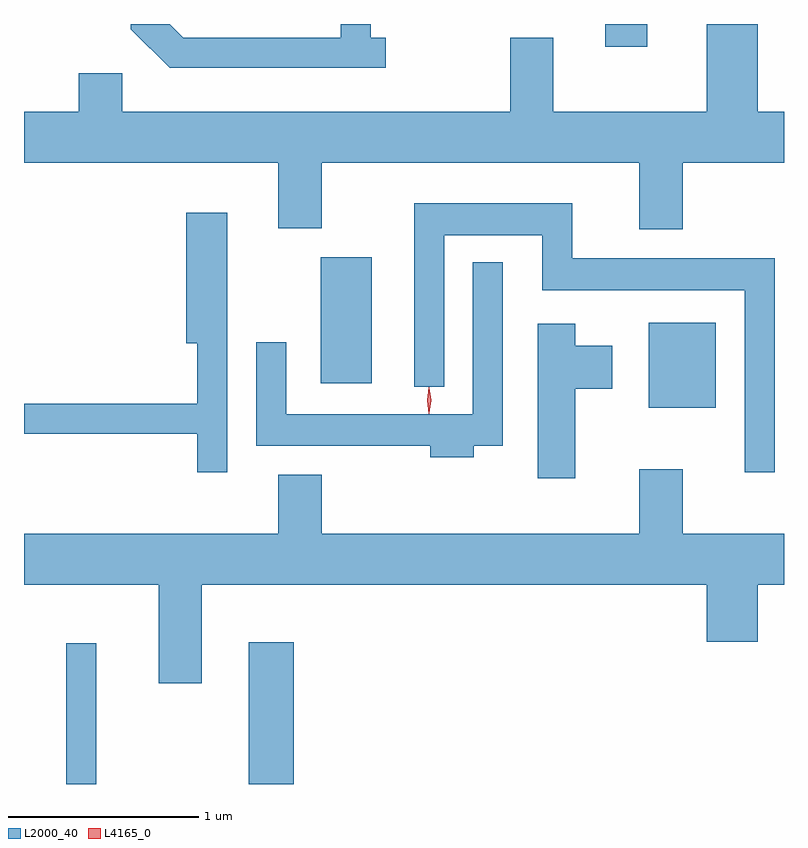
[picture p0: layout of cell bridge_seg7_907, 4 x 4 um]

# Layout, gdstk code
import gdstk
lib = gdstk.Library(unit=1e-6, precision=1e-09)
def R(c, l, rs):  # rectangles x0, y0, x1, y1
    for r in rs: c.add(gdstk.rectangle(r[:2], r[2:], *l))
def P(c, l, *ps):  # polygons
    for p in ps: c.add(gdstk.Polygon(p, *l))
L2000_40 = (2000, 40)
L4165_0 = (4165, 0)

bridge_seg7_907 = lib.new_cell('bridge_seg7_907')
R(bridge_seg7_907, L2000_40, [(591.326,1719.927,591.484,1720.668), (592.286,1719.927,592.524,1720.674), (594.391,1721.906,594.744,1722.354), (592.666,1722.036,592.934,1722.699), (594.161,1723.806,594.384,1723.927)])
P(bridge_seg7_907, L2000_40, [(593.008,1723.854),(592.929,1723.854),(592.929,1723.927),(592.771,1723.927),(592.771,1723.854),(591.942,1723.854),(591.869,1723.927),(591.666,1723.927),(591.666,1723.899),(591.869,1723.696),(593.008,1723.696)],
  [(594.569,1723.196),(595.103,1723.196),(595.103,1723.464),(594.964,1723.464),(594.964,1723.927),(594.696,1723.927),(594.696,1723.464),(593.889,1723.464),(593.889,1723.854),(593.661,1723.854),(593.661,1723.464),(591.619,1723.464),(591.619,1723.669),(591.391,1723.669),(591.391,1723.464),(591.103,1723.464),(591.103,1723.196),(592.441,1723.196),(592.441,1722.851),(592.669,1722.851),(592.669,1723.196),(594.341,1723.196),(594.341,1722.846),(594.569,1722.846)],
  [(595.054,1722.694),(593.989,1722.694),(593.989,1722.984),(593.156,1722.984),(593.156,1722.018),(593.314,1722.018),(593.314,1722.816),(593.831,1722.816),(593.831,1722.526),(594.896,1722.526),(594.896,1721.568),(595.054,1721.568)],
  [(592.174,1722.934),(591.956,1722.934),(591.956,1722.246),(592.016,1722.246),(592.016,1721.929),(591.103,1721.929),(591.103,1721.771),(592.016,1721.771),(592.016,1721.568),(592.174,1721.568)],
  [(593.469,1721.706),(593.624,1721.706),(593.624,1722.673),(593.466,1722.673),(593.466,1721.874),(592.484,1721.874),(592.484,1722.253),(592.326,1722.253),(592.326,1721.706),(593.241,1721.706),(593.241,1721.646),(593.469,1721.646)],
  [(594.004,1722.006),(594.199,1722.006),(594.199,1722.234),(594.004,1722.234),(594.004,1722.349),(593.806,1722.349),(593.806,1721.536),(594.004,1721.536)],
  [(594.696,1720.676),(594.964,1720.676),(594.964,1720.976),(595.103,1720.976),(595.103,1721.244),(594.569,1721.244),(594.569,1721.584),(594.341,1721.584),(594.341,1721.244),(592.669,1721.244),(592.669,1721.554),(592.441,1721.554),(592.441,1721.244),(591.103,1721.244),(591.103,1720.976),(591.811,1720.976),(591.811,1720.456),(592.039,1720.456),(592.039,1720.976),(594.696,1720.976)])
P(bridge_seg7_907, L4165_0, [(593.234,1721.877),(593.225,1721.946),(593.234,1722.016),(593.235,1722.016),(593.235,1722.016),(593.245,1721.946),(593.235,1721.877),(593.235,1721.877)],
  [(593.236,1721.879),(593.236,1721.88),(593.226,1721.946),(593.235,1722.012),(593.236,1722.013),(593.236,1722.012),(593.246,1721.946),(593.237,1721.88)])

lib.write_gds('bridge_seg7_907.gds')
